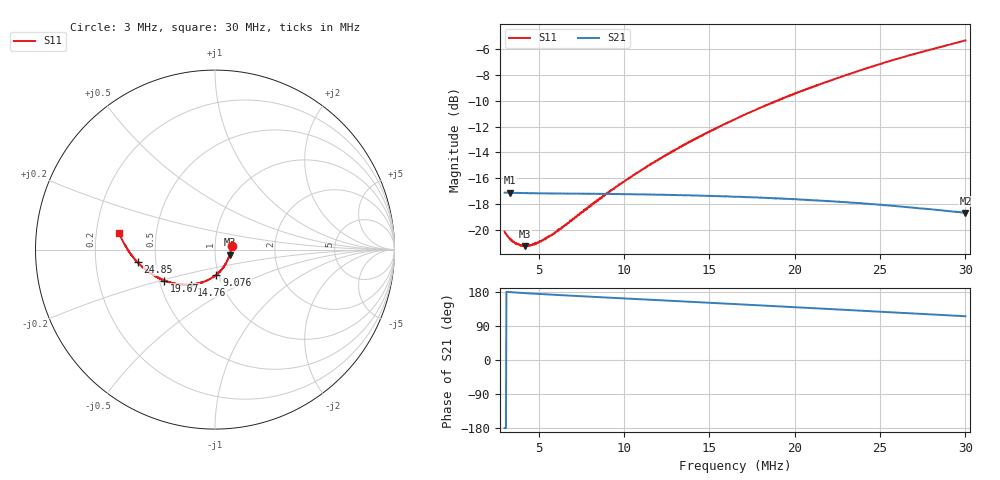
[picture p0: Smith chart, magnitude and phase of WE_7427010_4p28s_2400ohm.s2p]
# HZ S RI R 50
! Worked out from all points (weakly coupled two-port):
!   1023 points, 3 MHz to 30 MHz, reference 50 ohm
!   highest |S21| = -17.13 dB at 3.291 MHz (marker M1); lowest = -18.7 dB at 30 MHz (marker M2)
!   lowest |S11| = -21.3 dB at 4.215 MHz (marker M3), VSWR 1.19, Z = 58.8 - j3.3 ohm
!   |S11| at or under -10 dB: start of sweep to 18.93 MHz
!   S12 and S22 are empty: the file has one direction only
!   S11 on the Smith chart (normalised r, x): 3 MHz: 1.21, +0.05; 9.076 MHz: 0.98, -0.28; 14.76 MHz: 0.71, -0.29; 19.67 MHz: 0.53, -0.21; 24.85 MHz: 0.39, -0.07; 30 MHz: 0.30, +0.08
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3000000  0.0958 0.0221  -0.1391 -0.000855  0 0  0 0
3290609  0.0923 0.00736  -0.1392 0.00182  0 0  0 0
3713313  0.087 -0.00983  -0.1387 0.00492  0 0  0 0
4003922  0.0843 -0.0199  -0.1387 0.00745  0 0  0 0
4215274  0.0815 -0.0278  -0.1383 0.00852  0 0  0 0
4849330  0.0741 -0.0471  -0.1379 0.0127  0 0  0 0
5747576  0.0638 -0.0707  -0.1368 0.018  0 0  0 0
7517649  0.0368 -0.1103  -0.1349 0.028  0 0  0 0
9076370  0.00821 -0.1397  -0.1326 0.0365  0 0  0 0
1.060867e7  -0.0242 -0.1617  -0.1295 0.0442  0 0  0 0
1.200888e7  -0.0581 -0.1782  -0.1266 0.0511  0 0  0 0
1.335625e7  -0.0929 -0.1888  -0.1232 0.0578  0 0  0 0
1.475646e7  -0.1337 -0.1946  -0.119 0.0643  0 0  0 0
1.650011e7  -0.1833 -0.1951  -0.1132 0.0721  0 0  0 0
1.821734e7  -0.2365 -0.186  -0.1067 0.0788  0 0  0 0
1.967039e7  -0.2832 -0.1728  -0.1008 0.0846  0 0  0 0
2.101776e7  -0.3238 -0.1528  -0.095 0.0887  0 0  0 0
2.286709e7  -0.3767 -0.1198  -0.0864 0.0942  0 0  0 0
2.484851e7  -0.4309 -0.0705  -0.0763 0.099  0 0  0 0
2.550899e7  -0.4472 -0.0541  -0.0732 0.1  0 0  0 0
2.778102e7  -0.4962 0.0166  -0.0615 0.1031  0 0  0 0
3.000022e7  -0.5346 0.0939  -0.0498 0.1047  0 0  0 0
